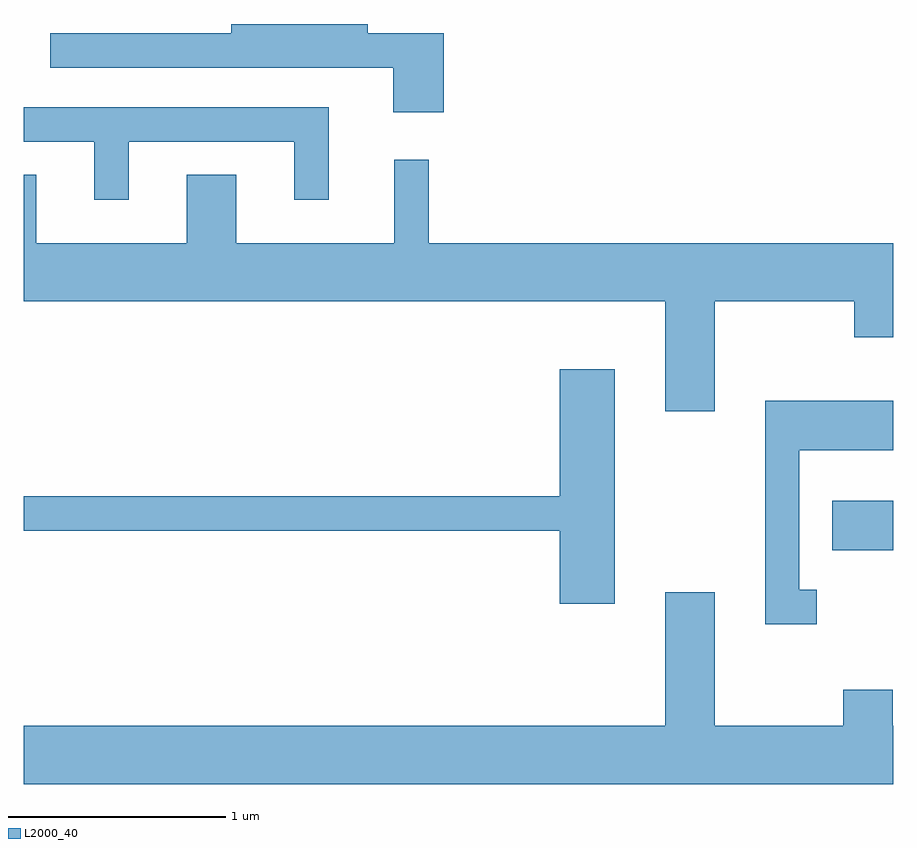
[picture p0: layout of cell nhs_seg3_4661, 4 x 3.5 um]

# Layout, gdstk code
import gdstk
lib = gdstk.Library(unit=1e-6, precision=1e-09)
def R(c, l, rs):  # rectangles x0, y0, x1, y1
    for r in rs: c.add(gdstk.rectangle(r[:2], r[2:], *l))
def P(c, l, *ps):  # polygons
    for p in ps: c.add(gdstk.Polygon(p, *l))
L2000_40 = (2000, 40)

nhs_seg3_4661 = lib.new_cell('nhs_seg3_4661')
R(nhs_seg3_4661, L2000_40, [(325.331,1191.471,325.611,1191.699)])
P(nhs_seg3_4661, L2000_40, [(323.544,1193.849),(323.194,1193.849),(323.194,1193.892),(322.566,1193.892),(322.566,1193.849),(321.733,1193.849),(321.733,1193.691),(323.311,1193.691),(323.311,1193.486),(323.544,1193.486)],
  [(322.094,1193.351),(322.856,1193.351),(322.856,1193.083),(323.014,1193.083),(323.014,1193.509),(321.611,1193.509),(321.611,1193.351),(321.936,1193.351),(321.936,1193.083),(322.094,1193.083)],
  [(324.789,1192.616),(325.431,1192.616),(325.431,1192.451),(325.611,1192.451),(325.611,1192.884),(323.474,1192.884),(323.474,1193.268),(323.316,1193.268),(323.316,1192.884),(322.589,1192.884),(322.589,1193.199),(322.361,1193.199),(322.361,1192.884),(321.669,1192.884),(321.669,1193.199),(321.611,1193.199),(321.611,1192.616),(324.561,1192.616),(324.561,1192.111),(324.789,1192.111)],
  [(324.329,1192.304),(324.076,1192.304),(324.076,1191.719),(321.611,1191.719),(321.611,1191.561),(324.076,1191.561),(324.076,1191.226),(324.329,1191.226)],
  [(325.258,1191.289),(325.179,1191.289),(325.179,1191.931),(325.611,1191.931),(325.611,1192.159),(325.021,1192.159),(325.021,1191.131),(325.258,1191.131)],
  [(325.611,1190.664),(325.609,1190.664),(325.609,1190.829),(325.381,1190.829),(325.381,1190.664),(324.789,1190.664),(324.789,1191.279),(324.561,1191.279),(324.561,1190.664),(321.611,1190.664),(321.611,1190.396),(325.611,1190.396)])

lib.write_gds('nhs_seg3_4661.gds')
